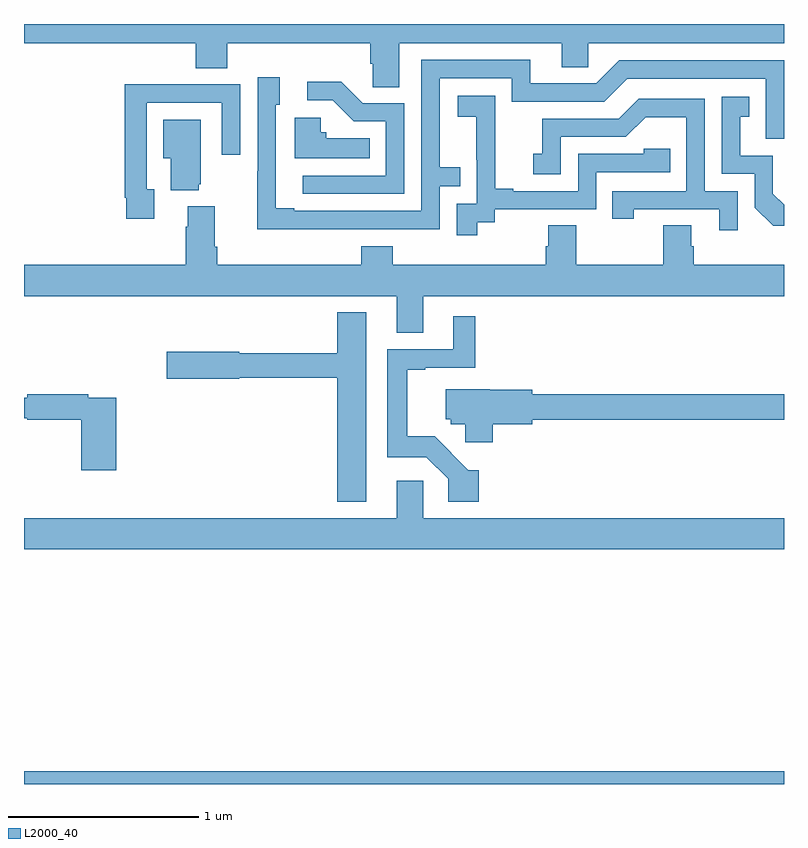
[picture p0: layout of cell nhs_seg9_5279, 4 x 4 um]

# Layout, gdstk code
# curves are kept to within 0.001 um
import gdstk
lib = gdstk.Library(unit=1e-6, precision=1e-09)
def R(c, l, rs):  # rectangles x0, y0, x1, y1
    for r in rs: c.add(gdstk.rectangle(r[:2], r[2:], *l))
def P(c, l, *ps):  # polygons
    for p in ps: c.add(gdstk.Polygon(p, *l))
L2000_40 = (2000, 40)

nhs_seg9_5279 = lib.new_cell('nhs_seg9_5279')
R(nhs_seg9_5279, L2000_40, [(417,1212.5,421,1212.568)])
P(nhs_seg9_5279, L2000_40, [(418.975,1216.4),(419.831,1216.4),(419.831,1216.273),(419.97,1216.273),(419.97,1216.4),(421,1216.4),(421,1216.5),(417,1216.5),(417,1216.4),(417.905,1216.4),(417.905,1216.267),(418.07,1216.267),(418.07,1216.4),(418.823,1216.4),(418.823,1216.291),(418.836,1216.291),(418.836,1216.168),(418.975,1216.168)],
  [(418.691,1215.42),(419.187,1215.42),(419.187,1215.645),(419.297,1215.645),(419.297,1215.746),(419.187,1215.746),(419.187,1216.215),(419.568,1216.215),(419.568,1216.092),(420.054,1216.092),(420.174,1216.212),(420.903,1216.212),(420.903,1215.897),(421,1215.897),(421,1216.308),(420.132,1216.308),(420.012,1216.188),(419.665,1216.188),(419.665,1216.311),(419.091,1216.311),(419.091,1215.516),(418.423,1215.516),(418.423,1215.529),(418.326,1215.529),(418.326,1216.074),(418.345,1216.074),(418.345,1216.219),(418.23,1216.219),(418.23,1215.725),(418.228,1215.725),(418.228,1215.419)],
  [(419.001,1216.083),(418.782,1216.083),(418.669,1216.196),(418.491,1216.196),(418.491,1216.098),(418.625,1216.098),(418.736,1215.987),(418.905,1215.987),(418.905,1215.702),(418.467,1215.702),(418.467,1215.606),(419.001,1215.606)],
  [(417.685,1215.63),(417.645,1215.63),(417.645,1216.086),(418.041,1216.086),(418.041,1215.813),(418.137,1215.813),(418.137,1216.182),(417.821,1216.182),(417.821,1216.184),(417.529,1216.184),(417.529,1215.586),(417.537,1215.586),(417.537,1215.474),(417.685,1215.474)],
  [(419.386,1215.457),(419.478,1215.457),(419.478,1215.525),(420.012,1215.525),(420.012,1215.72),(420.401,1215.72),(420.401,1215.843),(420.261,1215.843),(420.261,1215.816),(419.916,1215.816),(419.916,1215.621),(419.575,1215.621),(419.575,1215.634),(419.48,1215.634),(419.48,1215.917),(419.481,1215.917),(419.481,1216.123),(419.283,1216.123),(419.283,1216.013),(419.381,1216.013),(419.381,1215.785),(419.382,1215.785),(419.382,1215.555),(419.277,1215.555),(419.277,1215.387),(419.386,1215.387)],
  [(421,1215.548),(420.942,1215.606),(420.942,1215.807),(420.769,1215.807),(420.769,1216.011),(420.818,1216.011),(420.818,1216.117),(420.672,1216.117),(420.672,1215.711),(420.846,1215.711),(420.846,1215.534),(420.944,1215.437),(421,1215.437)],
  [(420.756,1215.621),(420.582,1215.621),(420.582,1216.107),(420.236,1216.107),(420.131,1216.002),(419.728,1216.002),(419.728,1215.817),(419.679,1215.817),(419.679,1215.708),(419.826,1215.708),(419.826,1215.906),(420.168,1215.906),(420.272,1216.01),(420.486,1216.01),(420.486,1215.621),(420.097,1215.621),(420.097,1215.474),(420.208,1215.474),(420.208,1215.525),(420.659,1215.525),(420.659,1215.414),(420.756,1215.414)],
  [(418.82,1215.898),(418.59,1215.898),(418.59,1215.93),(418.563,1215.93),(418.563,1216.006),(418.424,1216.006),(418.424,1215.794),(418.82,1215.794)],
  [(417.92,1215.657),(417.931,1215.657),(417.931,1215.997),(417.734,1215.997),(417.734,1215.794),(417.773,1215.794),(417.773,1215.626),(417.92,1215.626)],
  [(419.101,1215.068),(421,1215.068),(421,1215.232),(420.524,1215.232),(420.524,1215.33),(420.511,1215.33),(420.511,1215.44),(420.364,1215.44),(420.364,1215.232),(419.907,1215.232),(419.907,1215.44),(419.759,1215.44),(419.759,1215.33),(419.747,1215.33),(419.747,1215.232),(418.94,1215.232),(418.94,1215.331),(418.775,1215.331),(418.775,1215.232),(418.016,1215.232),(418.016,1215.328),(418.003,1215.328),(418.003,1215.541),(417.863,1215.541),(417.863,1215.434),(417.851,1215.434),(417.851,1215.232),(417,1215.232),(417,1215.068),(418.961,1215.068),(418.961,1214.874),(419.101,1214.874)],
  [(418.801,1214.983),(418.649,1214.983),(418.649,1214.767),(418.134,1214.767),(418.134,1214.775),(417.75,1214.775),(417.75,1214.633),(418.134,1214.633),(418.134,1214.638),(418.649,1214.638),(418.649,1213.985),(418.801,1213.985)],
  [(419.393,1214.152),(419.339,1214.152),(419.161,1214.33),(419.017,1214.33),(419.017,1214.679),(419.113,1214.679),(419.113,1214.691),(419.375,1214.691),(419.375,1214.962),(419.258,1214.962),(419.258,1214.787),(418.913,1214.787),(418.913,1214.22),(419.118,1214.22),(419.232,1214.106),(419.232,1213.986),(419.393,1213.986)],
  [(419.468,1214.393),(419.674,1214.393),(419.674,1214.416),(421,1214.416),(421,1214.552),(419.674,1214.552),(419.674,1214.576),(419.451,1214.576),(419.451,1214.578),(419.219,1214.578),(419.219,1214.421),(419.247,1214.421),(419.247,1214.394),(419.322,1214.394),(419.322,1214.3),(419.468,1214.3)],
  [(417.485,1214.532),(417.338,1214.532),(417.338,1214.552),(417.016,1214.552),(417.016,1214.533),(417,1214.533),(417,1214.424),(417.018,1214.424),(417.018,1214.416),(417.302,1214.416),(417.302,1214.151),(417.485,1214.151)],
  [(421,1213.9),(419.1,1213.9),(419.1,1214.095),(418.961,1214.095),(418.961,1213.9),(417,1213.9),(417,1213.736),(421,1213.736)])

lib.write_gds('nhs_seg9_5279.gds')
